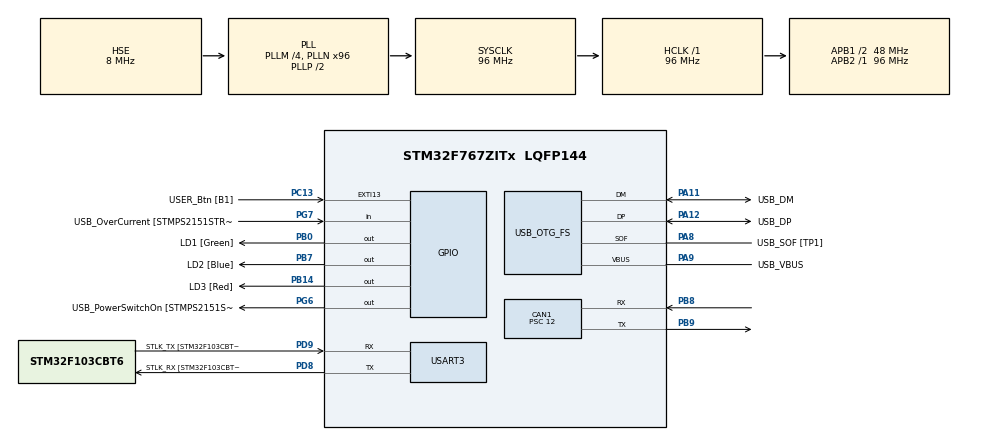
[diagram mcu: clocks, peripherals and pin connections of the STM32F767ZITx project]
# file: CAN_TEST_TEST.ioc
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CAN1.ABOM=ENABLE
CAN1.AWUM=ENABLE
CAN1.BS1=CAN_BS1_6TQ
CAN1.CalculateBaudRate=500000
CAN1.CalculateTimeBit=2000
CAN1.CalculateTimeQuantum=250.0
CAN1.NART=DISABLE
CAN1.Prescaler=12
CAN1.TXFP=DISABLE
Mcu.Family=STM32F7
Mcu.Name=STM32F767ZITx
Mcu.Package=LQFP144
NVIC.CAN1_RX0_IRQn=true\:0\:0\:false\:false\:true\:true\:true\:true
NVIC.CAN1_RX1_IRQn=true\:0\:0\:false\:false\:true\:true\:true\:true
NVIC.PriorityGroup=NVIC_PRIORITYGROUP_4
PA1.GPIO_Label=RMII_REF_CLK [LAN8742A-CZ-TR_REFCLK0]
PA1.Signal=ETH_REF_CLK
PA10.GPIO_Label=USB_ID
PA10.Signal=USB_OTG_FS_ID
PA11.GPIO_Label=USB_DM
PA11.Mode=Device_Only
PA11.Signal=USB_OTG_FS_DM
PA12.GPIO_Label=USB_DP
PA12.Mode=Device_Only
PA12.Signal=USB_OTG_FS_DP
PA13.GPIO_Label=TMS
PA13.Mode=Serial_Wire
PA13.Signal=SYS_JTMS-SWDIO
PA14.GPIO_Label=TCK
PA14.Mode=Serial_Wire
PA14.Signal=SYS_JTCK-SWCLK
PA2.GPIO_Label=RMII_MDIO [LAN8742A-CZ-TR_MDIO]
PA2.Signal=ETH_MDIO
PA7.GPIO_Label=RMII_CRS_DV [LAN8742A-CZ-TR_CRS_DV]
PA7.Signal=ETH_CRS_DV
PA8.GPIO_Label=USB_SOF [TP1]
PA8.Mode=Activate_SOF_FS
PA8.Signal=USB_OTG_FS_SOF
PA9.GPIO_Label=USB_VBUS
PA9.Mode=Activate_VBUS
PA9.Signal=USB_OTG_FS_VBUS
PB0.GPIO_Label=LD1 [Green]
PB0.Signal=GPIO_Output
PB13.GPIO_Label=RMII_TXD1 [LAN8742A-CZ-TR_TXD1]
PB13.Signal=ETH_TXD1
PB14.GPIO_Label=LD3 [Red]
PB14.Signal=GPIO_Output
PB3.GPIO_Label=SWO
PB3.Signal=SYS_JTDO-SWO
PB7.GPIO_Label=LD2 [Blue]
PB7.Signal=GPIO_Output
PB8.Mode=CAN_Activate
PB8.Signal=CAN1_RX
PB9.Mode=CAN_Activate
PB9.Signal=CAN1_TX
PC1.GPIO_Label=RMII_MDC [LAN8742A-CZ-TR_MDC]
PC1.Signal=ETH_MDC
PC13.GPIO_Label=USER_Btn [B1]
PC13.Signal=GPXTI13
PC14/OSC32_IN.Mode=LSE-External-Oscillator
PC14/OSC32_IN.Signal=RCC_OSC32_IN
PC15/OSC32_OUT.Mode=LSE-External-Oscillator
PC15/OSC32_OUT.Signal=RCC_OSC32_OUT
PC4.GPIO_Label=RMII_RXD0 [LAN8742A-CZ-TR_RXD0]
PC4.Signal=ETH_RXD0
PC5.GPIO_Label=RMII_RXD1 [LAN8742A-CZ-TR_RXD1]
PC5.Signal=ETH_RXD1
PD8.GPIO_Label=STLK_RX [STM32F103CBT6_PA3]
PD8.Mode=Asynchronous
PD8.Signal=USART3_TX
PD9.GPIO_Label=STLK_TX [STM32F103CBT6_PA2]
PD9.Mode=Asynchronous
PD9.Signal=USART3_RX
PG11.GPIO_Label=RMII_TX_EN [LAN8742A-CZ-TR_TXEN]
PG11.Signal=ETH_TX_EN
PG13.GPIO_Label=RMII_TXD0 [LAN8742A-CZ-TR_TXD0]
PG13.Signal=ETH_TXD0
PG6.GPIO_Label=USB_PowerSwitchOn [STMPS2151STR_EN]
PG6.Signal=GPIO_Output
PG7.GPIO_Label=USB_OverCurrent [STMPS2151STR_FAULT]
PG7.Signal=GPIO_Input
PH0/OSC_IN.GPIO_Label=MCO [STM32F103CBT6_PA8]
PH0/OSC_IN.Mode=HSE-External-Oscillator
PH0/OSC_IN.Signal=RCC_OSC_IN
PH1/OSC_OUT.Mode=HSE-External-Oscillator
PH1/OSC_OUT.Signal=RCC_OSC_OUT
ProjectManager.HeapSize=0x200
ProjectManager.StackSize=0x400
ProjectManager.TargetToolchain=STM32CubeIDE
RCC.48MHZClocksFreq_Value=24000000
RCC.AHBFreq_Value=96000000
RCC.APB1CLKDivider=RCC_HCLK_DIV2
RCC.APB1Freq_Value=48000000
RCC.APB1TimFreq_Value=96000000
RCC.APB2Freq_Value=96000000
RCC.APB2TimFreq_Value=96000000
RCC.CortexFreq_Value=96000000
RCC.HCLKFreq_Value=96000000
RCC.HSE_VALUE=8000000
RCC.HSI_VALUE=16000000
RCC.PLLM=4
RCC.PLLMUL=RCC_PLL_MUL9
RCC.PLLN=96
RCC.PLLQ=4
RCC.PRESCALERUSB=RCC_USBCLKSOURCE_PLL_DIV1_5
RCC.SYSCLKFreq_VALUE=96000000
RCC.SYSCLKSource=RCC_SYSCLKSOURCE_PLLCLK
RCC.SYSCLKSourceVirtual=RCC_SYSCLKSOURCE_PLLCLK
RCC.USBFreq_Value=48000000
RCC.VCOOutputFreq_Value=192000000
USART3.VirtualMode-Asynchronous=VM_ASYNC
USB_OTG_FS.VirtualMode=Device_Only
board=NUCLEO-F767ZI

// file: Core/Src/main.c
/* USER CODE BEGIN Header */
/**
  ******************************************************************************
  * @file           : main.c
  * @brief          : Main program body
  ******************************************************************************
  * @attention
  *
  * Copyright (c) 2023 STMicroelectronics.
  * All rights reserved.
  *
  * This software is licensed under terms that can be found in the LICENSE file
  * in the root directory of this software component.
  * If no LICENSE file comes with this software, it is provided AS-IS.
  *
  ******************************************************************************
  */
/* USER CODE END Header */
#include "main.h"

/* USER CODE BEGIN Includes */
#include "stdio.h"
#include <string.h>
/* USER CODE END Includes */

/* USER CODE BEGIN PM */
#define SEND			(1)
#define CANBUS_ID_0		(0x02)
#define CANBUS_ID_1		(0x01)

#define BAMOCAR_CANBUS_ID 0x201 // TODO: Verify
#define ECU_CANBUS_ID 0x10 // TODO: approve
#define TORQUE_REG 0x90 // TODO: Verify
/* USER CODE END PM */

CAN_HandleTypeDef hcan1;

UART_HandleTypeDef huart3;

PCD_HandleTypeDef hpcd_USB_OTG_FS;

/* USER CODE BEGIN PV */

CAN_RxHeaderTypeDef rxHeader; //CAN Bus Transmit Header
CAN_TxHeaderTypeDef TxHeader;
uint32_t TxMailbox;
//uint8_t TxData[8] = {0x01,0x02,0x03,0x04,0x05,0x06,0x07,0x08};
uint8_t TxData[3] = {TORQUE_REG ,0xAB, 0x2A};
uint8_t canRX[8] = {0,0,0,0,0,0,0,0};  //CAN Bus Receive Buffer
char msg[] = "MESSAGE RECEIVED!\n";
/* USER CODE END PV */

void SystemClock_Config(void);
static void MX_GPIO_Init(void);
static void MX_USART3_UART_Init(void);
static void MX_USB_OTG_FS_PCD_Init(void);
static void MX_CAN1_Init(void);
/* USER CODE BEGIN PFP */
void HAL_CAN_RxFifo0MsgPendingCallback(CAN_HandleTypeDef *hcan);
/* USER CODE END PFP */

int main(void)
{
  /* USER CODE BEGIN 1 */
	HAL_StatusTypeDef status;
	//uint32_t ret;
	char msg[64];
  /* USER CODE END 1 */

  /* MCU Configuration--------------------------------------------------------*/

  /* Reset of all peripherals, Initializes the Flash interface and the Systick. */
  HAL_Init();

  /* Configure the system clock */
  SystemClock_Config();

  /* Initialize all configured peripherals */
  MX_GPIO_Init();
  MX_USART3_UART_Init();
  MX_USB_OTG_FS_PCD_Init();
  MX_CAN1_Init();
  /* USER CODE BEGIN 2 */

  /*
  if (SEND) TxData[0] = CANBUS_ID_0;
  else TxData[0] = CANBUS_ID_1;

  TxData[1] = 0x00;
  TxData[2] = 0xFF;
  */

  /* USER CODE END 2 */

  /* Infinite loop */
  while (1)
  {

    /* USER CODE BEGIN 3 */

      /* Start the Transmission process */
      if (HAL_CAN_AddTxMessage(&hcan1, &TxHeader, TxData, &TxMailbox) != HAL_OK)
      {
        /* Transmission request Error */
        Error_Handler();
      }
      HAL_Delay(10);

      /*
	  status = HAL_CAN_AddTxMessage(&hcan1, &TxHeader, TxData, &TxMailbox);
	  //HAL_CAN_AddTxMessage(&hcan1, &TxHeader, TxData, &TxMailbox);
	  while(HAL_CAN_GetTxMailboxesFreeLevel(&hcan1) != 3);
	  //ret = HAL_CAN_GetTxMailboxesFreeLevel(&hcan1);
	  sprintf(msg, "status: 0x%x\r\n", status);
	  HAL_UART_Transmit(&huart3, (uint8_t *)msg, strlen(msg), 1000);
	  //sprintf(msg, "mailbox ret: %ld\r\n", ret);
	  HAL_UART_Transmit(&huart3, (uint8_t *)msg, strlen(msg), 1000);
	  sprintf(msg, "hcan error: 0x%lx\r\n\n", hcan1.ErrorCode);
	  HAL_UART_Transmit(&huart3, (uint8_t *)msg, strlen(msg), 1000);
	  if (status == HAL_OK ) {
		  HAL_GPIO_TogglePin(GPIOB, GPIO_PIN_14);
	  }
	  HAL_GPIO_TogglePin(GPIOB, GPIO_PIN_7);
	  HAL_Delay(500);
	  */
  }
  /* USER CODE END 3 */
}

void SystemClock_Config(void)
{
  RCC_OscInitTypeDef RCC_OscInitStruct = {0};
  RCC_ClkInitTypeDef RCC_ClkInitStruct = {0};

  /** Configure LSE Drive Capability
  */
  HAL_PWR_EnableBkUpAccess();

  /** Configure the main internal regulator output voltage
  */
  __HAL_RCC_PWR_CLK_ENABLE();
  __HAL_PWR_VOLTAGESCALING_CONFIG(PWR_REGULATOR_VOLTAGE_SCALE3);

  /** Initializes the RCC Oscillators according to the specified parameters
  * in the RCC_OscInitTypeDef structure.
  */
  RCC_OscInitStruct.OscillatorType = RCC_OSCILLATORTYPE_HSE;
  RCC_OscInitStruct.HSEState = RCC_HSE_ON;
  RCC_OscInitStruct.PLL.PLLState = RCC_PLL_ON;
  RCC_OscInitStruct.PLL.PLLSource = RCC_PLLSOURCE_HSE;
  RCC_OscInitStruct.PLL.PLLM = 4;
  RCC_OscInitStruct.PLL.PLLN = 96;
  RCC_OscInitStruct.PLL.PLLP = RCC_PLLP_DIV2;
  RCC_OscInitStruct.PLL.PLLQ = 4;
  RCC_OscInitStruct.PLL.PLLR = 2;
  if (HAL_RCC_OscConfig(&RCC_OscInitStruct) != HAL_OK)
  {
    Error_Handler();
  }

  /** Activate the Over-Drive mode
  */
  if (HAL_PWREx_EnableOverDrive() != HAL_OK)
  {
    Error_Handler();
  }

  /** Initializes the CPU, AHB and APB buses clocks
  */
  RCC_ClkInitStruct.ClockType = RCC_CLOCKTYPE_HCLK|RCC_CLOCKTYPE_SYSCLK
                              |RCC_CLOCKTYPE_PCLK1|RCC_CLOCKTYPE_PCLK2;
  RCC_ClkInitStruct.SYSCLKSource = RCC_SYSCLKSOURCE_PLLCLK;
  RCC_ClkInitStruct.AHBCLKDivider = RCC_SYSCLK_DIV1;
  RCC_ClkInitStruct.APB1CLKDivider = RCC_HCLK_DIV2;
  RCC_ClkInitStruct.APB2CLKDivider = RCC_HCLK_DIV1;

  if (HAL_RCC_ClockConfig(&RCC_ClkInitStruct, FLASH_LATENCY_3) != HAL_OK)
  {
    Error_Handler();
  }
}

static void MX_CAN1_Init(void)
{

  /* USER CODE BEGIN CAN1_Init 0 */
	CAN_FilterTypeDef canfil; //CAN Bus Filter
  /* USER CODE END CAN1_Init 0 */

  hcan1.Instance = CAN1;
  hcan1.Init.Prescaler = 12;
  hcan1.Init.Mode = CAN_MODE_NORMAL;
  hcan1.Init.SyncJumpWidth = CAN_SJW_1TQ;
  hcan1.Init.TimeSeg1 = CAN_BS1_6TQ;
  hcan1.Init.TimeSeg2 = CAN_BS2_1TQ;
  hcan1.Init.TimeTriggeredMode = DISABLE;
  hcan1.Init.AutoBusOff = ENABLE;
  hcan1.Init.AutoWakeUp = ENABLE;
  hcan1.Init.AutoRetransmission = DISABLE;
  hcan1.Init.ReceiveFifoLocked = DISABLE;
  hcan1.Init.TransmitFifoPriority = DISABLE;
  if (HAL_CAN_Init(&hcan1) != HAL_OK)
  {
    Error_Handler();
  }
  /* USER CODE BEGIN CAN1_Init 2 */
  TxHeader.DLC = 3; // Number of bites to be transmitted max- 8
  TxHeader.IDE = CAN_ID_STD;
  TxHeader.ExtId = 0;
  TxHeader.RTR = CAN_RTR_DATA;

  /*if (SEND) TxHeader.StdId = CANBUS_ID_1;
  else TxHeader.StdId = CANBUS_ID_0;
  */
  //TxHeader.StdId = 0x123;
  TxHeader.StdId = BAMOCAR_CANBUS_ID; //0x201
  TxHeader.TransmitGlobalTime = DISABLE;

  canfil.FilterBank = 0;
  canfil.FilterMode = CAN_FILTERMODE_IDMASK;
  canfil.FilterFIFOAssignment = CAN_RX_FIFO0;
  canfil.FilterIdHigh = 0;
  canfil.FilterIdLow = 0;
  canfil.FilterMaskIdHigh = 0;
  canfil.FilterMaskIdLow = 0;
  canfil.FilterScale = CAN_FILTERSCALE_32BIT;
  canfil.FilterActivation = ENABLE;
  canfil.SlaveStartFilterBank = 14;

  HAL_CAN_ConfigFilter(&hcan1,&canfil); //Initialize CAN Filter

  HAL_CAN_Start(&hcan1);
  //HAL_CAN_ActivateNotification(&hcan1,CAN_IT_RX_FIFO0_MSG_PENDING);// Initialize CAN Bus Rx Interrupt
  /* USER CODE END CAN1_Init 2 */

}

static void MX_USART3_UART_Init(void)
{

  huart3.Instance = USART3;
  huart3.Init.BaudRate = 115200;
  huart3.Init.WordLength = UART_WORDLENGTH_8B;
  huart3.Init.StopBits = UART_STOPBITS_1;
  huart3.Init.Parity = UART_PARITY_NONE;
  huart3.Init.Mode = UART_MODE_TX_RX;
  huart3.Init.HwFlowCtl = UART_HWCONTROL_NONE;
  huart3.Init.OverSampling = UART_OVERSAMPLING_16;
  huart3.Init.OneBitSampling = UART_ONE_BIT_SAMPLE_DISABLE;
  huart3.AdvancedInit.AdvFeatureInit = UART_ADVFEATURE_NO_INIT;
  if (HAL_UART_Init(&huart3) != HAL_OK)
  {
    Error_Handler();
  }

}

static void MX_USB_OTG_FS_PCD_Init(void)
{

  hpcd_USB_OTG_FS.Instance = USB_OTG_FS;
  hpcd_USB_OTG_FS.Init.dev_endpoints = 6;
  hpcd_USB_OTG_FS.Init.speed = PCD_SPEED_FULL;
  hpcd_USB_OTG_FS.Init.dma_enable = DISABLE;
  hpcd_USB_OTG_FS.Init.phy_itface = PCD_PHY_EMBEDDED;
  hpcd_USB_OTG_FS.Init.Sof_enable = ENABLE;
  hpcd_USB_OTG_FS.Init.low_power_enable = DISABLE;
  hpcd_USB_OTG_FS.Init.lpm_enable = DISABLE;
  hpcd_USB_OTG_FS.Init.vbus_sensing_enable = ENABLE;
  hpcd_USB_OTG_FS.Init.use_dedicated_ep1 = DISABLE;
  if (HAL_PCD_Init(&hpcd_USB_OTG_FS) != HAL_OK)
  {
    Error_Handler();
  }

}

static void MX_GPIO_Init(void)
{
  GPIO_InitTypeDef GPIO_InitStruct = {0};

  /* GPIO Ports Clock Enable */
  __HAL_RCC_GPIOC_CLK_ENABLE();
  __HAL_RCC_GPIOH_CLK_ENABLE();
  __HAL_RCC_GPIOA_CLK_ENABLE();
  __HAL_RCC_GPIOB_CLK_ENABLE();
  __HAL_RCC_GPIOD_CLK_ENABLE();
  __HAL_RCC_GPIOG_CLK_ENABLE();

  /*Configure GPIO pin Output Level */
  HAL_GPIO_WritePin(GPIOB, LD1_Pin|LD3_Pin|LD2_Pin, GPIO_PIN_RESET);

  /*Configure GPIO pin Output Level */
  HAL_GPIO_WritePin(USB_PowerSwitchOn_GPIO_Port, USB_PowerSwitchOn_Pin, GPIO_PIN_RESET);

  /*Configure GPIO pin : USER_Btn_Pin */
  GPIO_InitStruct.Pin = USER_Btn_Pin;
  GPIO_InitStruct.Mode = GPIO_MODE_IT_RISING;
  GPIO_InitStruct.Pull = GPIO_NOPULL;
  HAL_GPIO_Init(USER_Btn_GPIO_Port, &GPIO_InitStruct);

  /*Configure GPIO pins : RMII_MDC_Pin RMII_RXD0_Pin RMII_RXD1_Pin */
  GPIO_InitStruct.Pin = RMII_MDC_Pin|RMII_RXD0_Pin|RMII_RXD1_Pin;
  GPIO_InitStruct.Mode = GPIO_MODE_AF_PP;
  GPIO_InitStruct.Pull = GPIO_NOPULL;
  GPIO_InitStruct.Speed = GPIO_SPEED_FREQ_VERY_HIGH;
  GPIO_InitStruct.Alternate = GPIO_AF11_ETH;
  HAL_GPIO_Init(GPIOC, &GPIO_InitStruct);

  /*Configure GPIO pins : RMII_REF_CLK_Pin RMII_MDIO_Pin RMII_CRS_DV_Pin */
  GPIO_InitStruct.Pin = RMII_REF_CLK_Pin|RMII_MDIO_Pin|RMII_CRS_DV_Pin;
  GPIO_InitStruct.Mode = GPIO_MODE_AF_PP;
  GPIO_InitStruct.Pull = GPIO_NOPULL;
  GPIO_InitStruct.Speed = GPIO_SPEED_FREQ_VERY_HIGH;
  GPIO_InitStruct.Alternate = GPIO_AF11_ETH;
  HAL_GPIO_Init(GPIOA, &GPIO_InitStruct);

  /*Configure GPIO pins : LD1_Pin LD3_Pin LD2_Pin */
  GPIO_InitStruct.Pin = LD1_Pin|LD3_Pin|LD2_Pin;
  GPIO_InitStruct.Mode = GPIO_MODE_OUTPUT_PP;
  GPIO_InitStruct.Pull = GPIO_NOPULL;
  GPIO_InitStruct.Speed = GPIO_SPEED_FREQ_LOW;
  HAL_GPIO_Init(GPIOB, &GPIO_InitStruct);

  /*Configure GPIO pin : RMII_TXD1_Pin */
  GPIO_InitStruct.Pin = RMII_TXD1_Pin;
  GPIO_InitStruct.Mode = GPIO_MODE_AF_PP;
  GPIO_InitStruct.Pull = GPIO_NOPULL;
  GPIO_InitStruct.Speed = GPIO_SPEED_FREQ_VERY_HIGH;
  GPIO_InitStruct.Alternate = GPIO_AF11_ETH;
  HAL_GPIO_Init(RMII_TXD1_GPIO_Port, &GPIO_InitStruct);

  /*Configure GPIO pin : USB_PowerSwitchOn_Pin */
  GPIO_InitStruct.Pin = USB_PowerSwitchOn_Pin;
  GPIO_InitStruct.Mode = GPIO_MODE_OUTPUT_PP;
  GPIO_InitStruct.Pull = GPIO_NOPULL;
  GPIO_InitStruct.Speed = GPIO_SPEED_FREQ_LOW;
  HAL_GPIO_Init(USB_PowerSwitchOn_GPIO_Port, &GPIO_InitStruct);

  /*Configure GPIO pin : USB_OverCurrent_Pin */
  GPIO_InitStruct.Pin = USB_OverCurrent_Pin;
  GPIO_InitStruct.Mode = GPIO_MODE_INPUT;
  GPIO_InitStruct.Pull = GPIO_NOPULL;
  HAL_GPIO_Init(USB_OverCurrent_GPIO_Port, &GPIO_InitStruct);

  /*Configure GPIO pins : RMII_TX_EN_Pin RMII_TXD0_Pin */
  GPIO_InitStruct.Pin = RMII_TX_EN_Pin|RMII_TXD0_Pin;
  GPIO_InitStruct.Mode = GPIO_MODE_AF_PP;
  GPIO_InitStruct.Pull = GPIO_NOPULL;
  GPIO_InitStruct.Speed = GPIO_SPEED_FREQ_VERY_HIGH;
  GPIO_InitStruct.Alternate = GPIO_AF11_ETH;
  HAL_GPIO_Init(GPIOG, &GPIO_InitStruct);

}

/* USER CODE BEGIN 4 */
void HAL_CAN_RxFifo0MsgPendingCallback(CAN_HandleTypeDef *hcan)
{
	HAL_CAN_GetRxMessage(hcan, CAN_RX_FIFO0, &rxHeader, canRX); //Receive CAN bus message to canRX buffer
	HAL_GPIO_TogglePin(GPIOB, GPIO_PIN_0);// toggle PA3 LED
	//HAL_UART_Transmit(&huart3, (uint8_t *)msg, strlen(msg), 500);
}
/* USER CODE END 4 */

void Error_Handler(void)
{
  __disable_irq();
  while (1)
  {
  }
}
